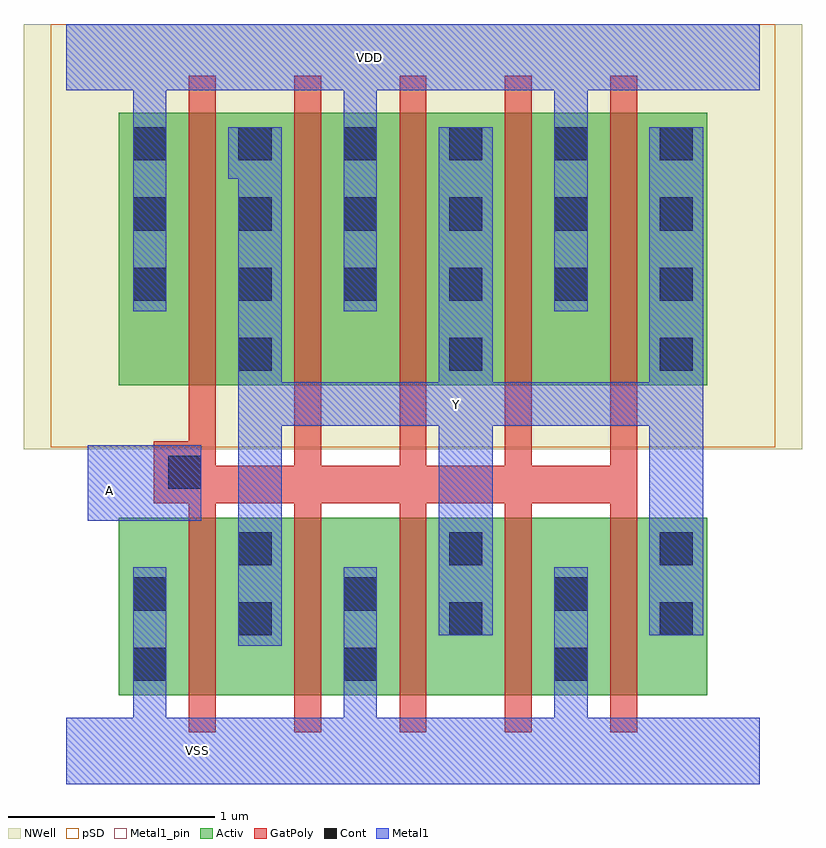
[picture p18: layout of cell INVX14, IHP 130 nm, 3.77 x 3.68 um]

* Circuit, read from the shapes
.subckt INVX14 A VDD VSS Y
XM1 Y A VSS VSUBS sg13_lv_nmos w=0.86u l=0.13u m=5
XM2 Y A VDD n1 sg13_lv_pmos w=1.32u l=0.13u m=5
.ends

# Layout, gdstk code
import gdstk
lib = gdstk.Library(unit=1e-6, precision=1e-09)
def R(c, l, rs):  # rectangles x0, y0, x1, y1
    for r in rs: c.add(gdstk.rectangle(r[:2], r[2:], *l))
def A(c, l, x, y, w, h, nx, ny, dx, dy):  # array of equal rectangles
    R(c, l, [(x+i*dx, y+j*dy, x+i*dx+w, y+j*dy+h) for i in range(nx) for j in range(ny)])
def P(c, l, *ps):  # polygons
    for p in ps: c.add(gdstk.Polygon(p, *l))
Activ = (1, 0)
GatPoly = (5, 0)
Cont = (6, 0)
Metal1 = (8, 0)
Metal1_pin = (8, 2)
pSD = (14, 0)
NWell = (31, 0)

invx14 = lib.new_cell('INVX14')
R(invx14, Activ, [(0.255,0.27,3.105,1.13), (0.255,1.77,3.105,3.09)])
P(invx14, GatPoly, [(0.595,0.09),(0.595,1.2),(0.425,1.2),(0.425,1.5),(0.595,1.5),(0.595,3.27),(0.725,3.27),(0.725,1.38),(1.105,1.38),(1.105,3.27),(1.235,3.27),(1.235,1.38),(1.615,1.38),(1.615,3.27),(1.745,3.27),(1.745,1.38),(2.125,1.38),(2.125,3.27),(2.255,3.27),(2.255,1.38),(2.635,1.38),(2.635,3.27),(2.765,3.27),(2.765,0.09),(2.635,0.09),(2.635,1.2),(2.255,1.2),(2.255,0.09),(2.125,0.09),(2.125,1.2),(1.745,1.2),(1.745,0.09),(1.615,0.09),(1.615,1.2),(1.235,1.2),(1.235,0.09),(1.105,0.09),(1.105,1.2),(0.725,1.2),(0.725,0.09)])
A(invx14, Cont, 0.325, 0.34, 0.16, 0.16, 3, 2, 1.02, 0.34)
A(invx14, Cont, 0.835, 0.56, 0.16, 0.16, 3, 2, 1.02, 0.34)
A(invx14, Cont, 0.835, 1.84, 0.16, 0.16, 3, 1, 1.02, 0)
A(invx14, Cont, 0.325, 2.18, 0.16, 0.16, 6, 3, 0.51, 0.34)
R(invx14, Cont, [(0.495,1.27,0.655,1.43)])
R(invx14, Metal1, [(0.105,1.115,0.655,1.48)])
P(invx14, Metal1, [(0,-0.16),(0,0.16),(0.325,0.16),(0.325,0.89),(0.485,0.89),(0.485,0.16),(1.345,0.16),(1.345,0.89),(1.505,0.89),(1.505,0.16),(2.365,0.16),(2.365,0.89),(2.525,0.89),(2.525,0.16),(3.36,0.16),(3.36,-0.16)],
  [(0.325,2.13),(0.325,3.2),(0,3.2),(0,3.52),(3.36,3.52),(3.36,3.2),(2.525,3.2),(2.525,2.13),(2.365,2.13),(2.365,3.2),(1.505,3.2),(1.505,2.13),(1.345,2.13),(1.345,3.2),(0.485,3.2),(0.485,2.13)],
  [(0.835,0.51),(0.835,2.77),(0.785,2.77),(0.785,3.02),(1.045,3.02),(1.045,1.785),(1.805,1.785),(1.805,3.02),(2.065,3.02),(2.065,1.785),(2.825,1.785),(2.825,3.02),(3.085,3.02),(3.085,0.56),(2.825,0.56),(2.825,1.575),(2.065,1.575),(2.065,0.56),(1.805,0.56),(1.805,1.575),(1.045,1.575),(1.045,0.51)])
R(invx14, Metal1_pin, [(0.105,1.115,0.655,1.48)])
P(invx14, Metal1_pin, [(0,-0.16),(0,0.16),(0.325,0.16),(0.325,0.89),(0.485,0.89),(0.485,0.16),(1.345,0.16),(1.345,0.89),(1.505,0.89),(1.505,0.16),(2.365,0.16),(2.365,0.89),(2.525,0.89),(2.525,0.16),(3.36,0.16),(3.36,-0.16)],
  [(0.325,2.13),(0.325,3.2),(0,3.2),(0,3.52),(3.36,3.52),(3.36,3.2),(2.525,3.2),(2.525,2.13),(2.365,2.13),(2.365,3.2),(1.505,3.2),(1.505,2.13),(1.345,2.13),(1.345,3.2),(0.485,3.2),(0.485,2.13)],
  [(0.835,0.51),(0.835,2.77),(0.785,2.77),(0.785,3.02),(1.045,3.02),(1.045,1.785),(1.805,1.785),(1.805,3.02),(2.065,3.02),(2.065,1.785),(2.825,1.785),(2.825,3.02),(3.085,3.02),(3.085,0.56),(2.825,0.56),(2.825,1.575),(2.065,1.575),(2.065,0.56),(1.805,0.56),(1.805,1.575),(1.045,1.575),(1.045,0.51)])
R(invx14, pSD, [(-0.075,1.47,3.435,3.52)])
R(invx14, NWell, [(-0.205,1.46,3.565,3.52)])
invx14.add(gdstk.Label('Y', (1.89,1.68), layer=8, texttype=25))
invx14.add(gdstk.Label('A', (0.21,1.26), layer=8, texttype=25))
invx14.add(gdstk.Label('VSS', (0.635,0), layer=8, texttype=25))
invx14.add(gdstk.Label('VDD', (1.47,3.36), layer=8, texttype=25))

lib.write_gds('INVX14.gds')
